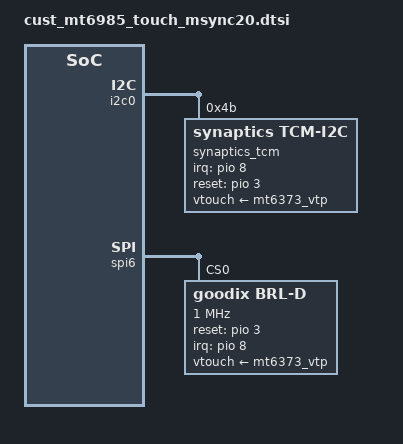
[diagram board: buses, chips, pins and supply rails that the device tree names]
// SPDX-License-Identifier: (GPL-2.0 OR MIT)
/*
 * Copyright (C) 2020 MediaTek Inc.
 */

/* TOUCH start */
&i2c0 {
	#address-cells = <1>;
	#size-cells = <0>;
	status = "ok";
	synaptics_tcm@4b {
		compatible = "synaptics,tcm-i2c";
		reg = <0x4b>;
		interrupt-parent = <&pio>;
		interrupts = <8 IRQ_TYPE_EDGE_FALLING 8 0>;
		pinctrl-names = "pmx_ts_active", "pmx_ts_suspend";
		pinctrl-0 = <&ts_active>;
		pinctrl-1 = <&ts_suspend>;
		//synaptics,bus-reg-name = "vdd";
		//vdd-supply = <&mt6373_vtp>;
		synaptics,pwr-reg-name = "vtouch";
		vtouch-supply = <&mt6373_vtp>;
		synaptics,irq-gpio = <&pio 8 0x2008>;
		synaptics,reset-gpio = <&pio 3 0x0>;
		synaptics,irq-on-state = <0>;
		synaptics,reset-on-state = <0>;
		synaptics,reset-active-ms = <20>;
		synaptics,reset-delay-ms = <200>;
		synaptics,power-delay-ms = <200>;
		synaptics,ubl-i2c-addr = <0x4b>;
		/* tp-io reset is only used for specific tddi devices */
		/* synaptics,tpio-reset-gpio = <&msm_gpio 102 0>; */
	};
};

&spi6 {
	status = "okay";
	#address-cells = <1>;
	#size-cells = <0>;
	pinctrl-names = "default", "gt9916_int_active",
		"gt9916_reset_active", "gt9916_int_suspend",
		"gt9916_reset_suspend", "gt9916_spi_mode";
	pinctrl-0 = <&ctp_gt9916_pins_default>;
	pinctrl-1 = <&ctp_gt9916_int_active>;
	pinctrl-2 = <&ctp_gt9916_reset_active>;
	pinctrl-3 = <&ctp_gt9916_int_suspend>;
	pinctrl-4 = <&ctp_gt9916_reset_suspend>;
	pinctrl-5 = <&ctp_gt9916_spi_mode>;

	goodix@0 {
		compatible = "goodix,brl-d";
		reg = <0>; //Same as CS ID
		spi-max-frequency = <1000000>;

		goodix,avdd-name = "vtouch";
		vtouch-supply = <&mt6373_vtp>;
		goodix,reset-gpio = <&pio 3 0x0>;
		goodix,irq-gpio = <&pio 8 0x0>;
		goodix,irq-flags = <2>; /* 1:rising, 2:falling;*/
		goodix,panel-max-id = <10>;
		goodix,panel-max-x = <12200>;
		goodix,panel-max-y = <27120>;
		goodix,panel-max-w = <256>;
		goodix,panel-max-p = <256>;
		goodix,input-max-x = <12200>;
		goodix,input-max-y = <27120>;
		gt9916,power-voltage = <2800000>;
		goodix,panel-key-map = <158 172 217>; /*BACK,HOMEPAGE,SEARCH*/
		goodix,power-on-delay-us = <10000>; /*10ms*/
		goodix,power-off-delay-us = <5000>;
		gt9916,firmware-name = "gt9916_L12_firmware_6985v01.bin";
		gt9916,config-name = "gt9916_L12_cfg_6985v01.bin";
		goodix,firmware-version = "6983v01";
		goodix,config-version = "6983v01";
		/*goodix,swap-axis;*/
		/*gt9916,x2x;*/
		/*gt9916,y2y;*/
		goodix,x2x;
		goodix,y2y;
		goodix,pen-enable;
		tpd-filter-enable = <0>;
		tpd-filter-pixel-density = <161>;
		tpd-filter-custom-prameters = <0 0 0 0 0 0 0 0 0 0 0 0>;
		tpd-filter-custom-speed = <0 0 0>;
	};

};

&pio {
	ctp_synaptics_pins_default: eint-default {
	};
	ctp_gt9916_pins_default: pins-default {
	};
	ts_active: ts-active1 {
		pins-cmd-dat {
			pinmux = <PINMUX_GPIO8__FUNC_GPIO8>;
			slew-rate = <1>;
			output-low;
		};
	};
	ts_suspend: ts-suspend1 {
		pins-cmd-dat {
			pinmux = <PINMUX_GPIO3__FUNC_GPIO3>;
			slew-rate = <1>;
			output-low;
		};
	};
	ctp_gt9916_int_active: int1-active {
		pins-cmd-dat {
			pinmux = <PINMUX_GPIO8__FUNC_GPIO8>;
			input-enable;
		};
	};
	ctp_gt9916_reset_active: reset1-active {
		pins-cmd-dat {
			pinmux = <PINMUX_GPIO3__FUNC_GPIO3>;
			output-high;
		};
	};
	ctp_gt9916_int_suspend: int1-suspend {
		pins-cmd-dat {
			pinmux = <PINMUX_GPIO8__FUNC_GPIO8>;
			output-low;
		};
	};
	ctp_gt9916_reset_suspend: reset1-suspend {
		pins-cmd-dat {
			pinmux = <PINMUX_GPIO3__FUNC_GPIO3>;
			output-low;
		};
	};
	ctp_gt9916_spi_mode: spimode-default {
		pins-cmd-dat {
			pinmux = <PINMUX_GPIO164__FUNC_SPI6_B_MI>,
				<PINMUX_GPIO165__FUNC_SPI6_B_CSB>,
				<PINMUX_GPIO166__FUNC_SPI6_B_MO>,
				<PINMUX_GPIO167__FUNC_SPI6_B_CLK>;
			drive-strength = <2>;
		};
	};
};
/* TOUCH end */
